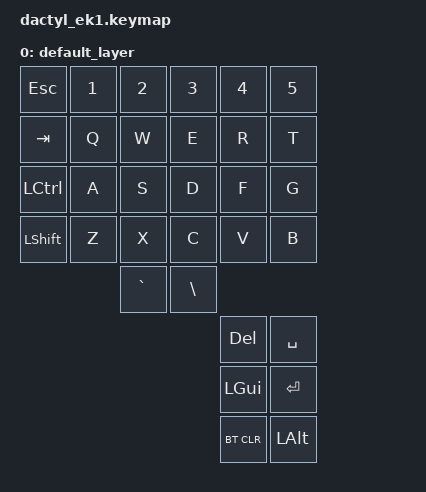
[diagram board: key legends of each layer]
#include <behaviors.dtsi>
#include <dt-bindings/zmk/keys.h>
#include <dt-bindings/zmk/bt.h>

/ {
    keymap {
        compatible = "zmk,keymap";

        default_layer {
            bindings = <
&kp ESC    &kp N1 &kp N2    &kp N3   &kp N4      &kp N5
&kp TAB    &kp Q  &kp W     &kp E    &kp R       &kp T
&kp LCTRL  &kp A  &kp S     &kp D    &kp F       &kp G
&kp LSHIFT &kp Z  &kp X     &kp C    &kp V       &kp B
                  &kp GRAVE &kp BSLH
                                     &kp DEL     &kp SPACE
                                     &kp LGUI    &kp RET
                                     &bt BT_CLR  &kp LALT
            >;
        };
    };
};
